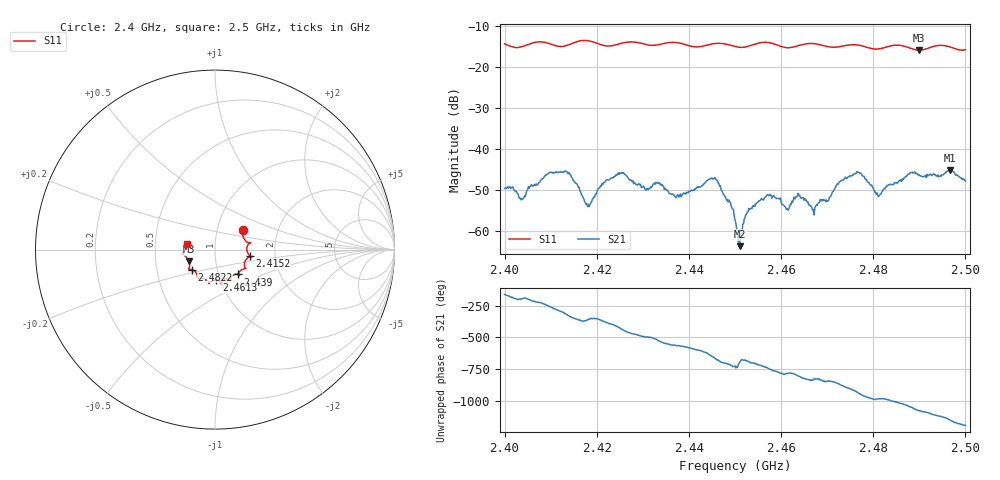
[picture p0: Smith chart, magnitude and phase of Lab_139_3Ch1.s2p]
# Hz S RI R 50
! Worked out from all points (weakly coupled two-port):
!   601 points, 2.4 GHz to 2.5 GHz, reference 50 ohm
!   highest |S21| = -45.07 dB at 2.4967 GHz (marker M1); lowest = -63.6 dB at 2.451 GHz (marker M2)
!   lowest |S11| = -15.9 dB at 2.4898 GHz (marker M3), VSWR 1.38, Z = 37 - j5.02 ohm
!   |S11| at or under -10 dB: start of sweep to end of sweep
!   S12 and S22 are empty: the file has one direction only
!   S11 on the Smith chart (normalised r, x): 2.4 GHz: 1.33, +0.31; 2.4152 GHz: 1.48, -0.11; 2.439 GHz: 1.24, -0.35; 2.4613 GHz: 0.96, -0.34; 2.4822 GHz: 0.76, -0.17; 2.5 GHz: 0.73, +0.05
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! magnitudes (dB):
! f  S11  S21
! 2.4 GHz  -14.4  -49.5
! 2.4037 GHz  -15.1  -52.1
! 2.4152 GHz  -14.1  -47.9
! 2.4167 GHz  -13.6  -51.0
! 2.4183 GHz  -13.7  -54.0
! 2.425 GHz  -14.4  -45.7
! 2.4333 GHz  -14.6  -48.2
! 2.439 GHz  -14.5  -50.7
! 2.4455 GHz  -14.3  -47.1
! 2.45 GHz  -15.0  -57.2
! 2.451 GHz  -15.2  -63.6
! 2.4528 GHz  -15.0  -55.2
! 2.457 GHz  -14.0  -51.1
! 2.4613 GHz  -15.3  -54.5
! 2.4637 GHz  -14.8  -50.8
! 2.4667 GHz  -14.3  -54.1
! 2.4763 GHz  -14.6  -45.8
! 2.4822 GHz  -15.4  -49.9
! 2.4833 GHz  -15.0  -48.6
! 2.4898 GHz  -15.9  -46.3
! 2.4967 GHz  -15.1  -45.1
! 2.5 GHz  -15.8  -47.7
